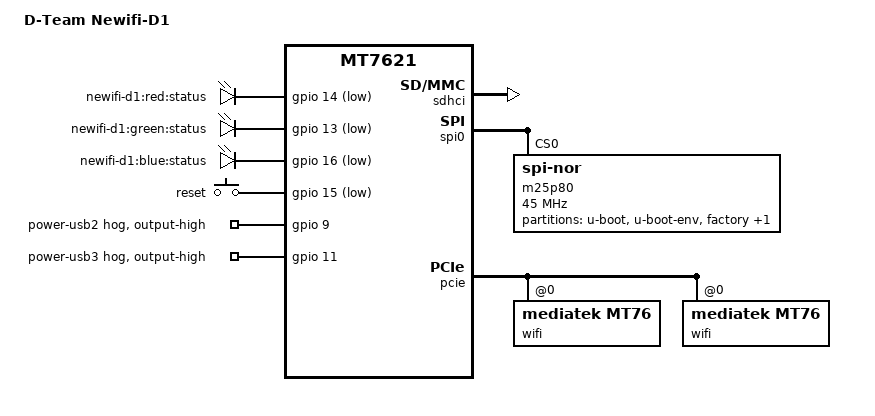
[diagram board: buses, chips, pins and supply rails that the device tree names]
/dts-v1/;

#include "mt7621.dtsi"

#include <dt-bindings/gpio/gpio.h>
#include <dt-bindings/input/input.h>

/ {
	compatible = "d-team,newifi-d1", "mediatek,mt7621-soc";
	model = "D-Team Newifi-D1";

	chosen {
		bootargs = "console=ttyS0,115200 root=/dev/sda1 rootwait";
	};

	leds {
		compatible = "gpio-leds";

		status-red {
			label = "newifi-d1:red:status";
			gpios = <&gpio 14 GPIO_ACTIVE_LOW>;
		};

		status-green {
			label = "newifi-d1:green:status";
			gpios = <&gpio 13 GPIO_ACTIVE_LOW>;
		};

		led_blue: status-blue {
			label = "newifi-d1:blue:status";
			gpios = <&gpio 16 GPIO_ACTIVE_LOW>;
			default-state = "on";
		};
	};

	keys {
		compatible = "gpio-keys";

		reset {
			label = "reset";
			gpios = <&gpio 15 GPIO_ACTIVE_LOW>;
			linux,code = <KEY_RESTART>;
		};
	};
};

&gpio {
	power_usb2 {
		gpio-hog;
		gpios = <9 GPIO_ACTIVE_HIGH>;
		output-high;
		line-name = "power-usb2";
	};

	power_usb3 {
		gpio-hog;
		gpios = <11 GPIO_ACTIVE_HIGH>;
		output-high;
		line-name = "power-usb3";
	};
};

&sdhci {
	status = "okay";
};

&spi0 {
	status = "okay";

	m25p80@0 {
		compatible = "jedec,spi-nor";
		reg = <0>;
		spi-max-frequency = <45000000>;
		m25p,fast-read;

		partitions {
			compatible = "fixed-partitions";
			#address-cells = <1>;
			#size-cells = <1>;

			partition@0 {
				label = "u-boot";
				reg = <0x0 0x30000>;
				read-only;
			};

			partition@30000 {
				label = "u-boot-env";
				reg = <0x30000 0x10000>;
				read-only;
			};

			factory: partition@40000 {
				label = "factory";
				reg = <0x40000 0x10000>;
				read-only;
			};

			partition@50000 {
				compatible = "denx,uimage";
				label = "firmware";
				reg = <0x50000 0x1fb0000>;
			};
		};
	};
};

&pcie {
	status = "okay";

	pcie@0,0 {
		wifi@0,0 {
			compatible = "mediatek,mt76";
			reg = <0x0000 0 0 0 0>;
			ieee80211-freq-limit = <5000000 6000000>;
			mediatek,mtd-eeprom = <&factory 0x8000>;
		};
	};

	pcie@1,0 {
		wifi@0,0 {
			compatible = "mediatek,mt76";
			reg = <0x0000 0 0 0 0>;
			ieee80211-freq-limit = <2400000 2500000>;
			mediatek,mtd-eeprom = <&factory 0x0000>;
		};
	};
};

&gmac0 {
	mtd-mac-address = <&factory 0xe000>;
};

&state_default {
	gpio {
		groups = "wdt", "rgmii2", "jtag", "uart2", "uart3", "i2c";
		function = "gpio";
	};
};

&switch0 {
	ports {
		port@1 {
			label = "lan2";
			status = "okay";
		};
		port@2 {
			label = "lan1";
			status = "okay";
		};
		port@4 {
			label = "wan";
			status = "okay";
		};
	};
};
